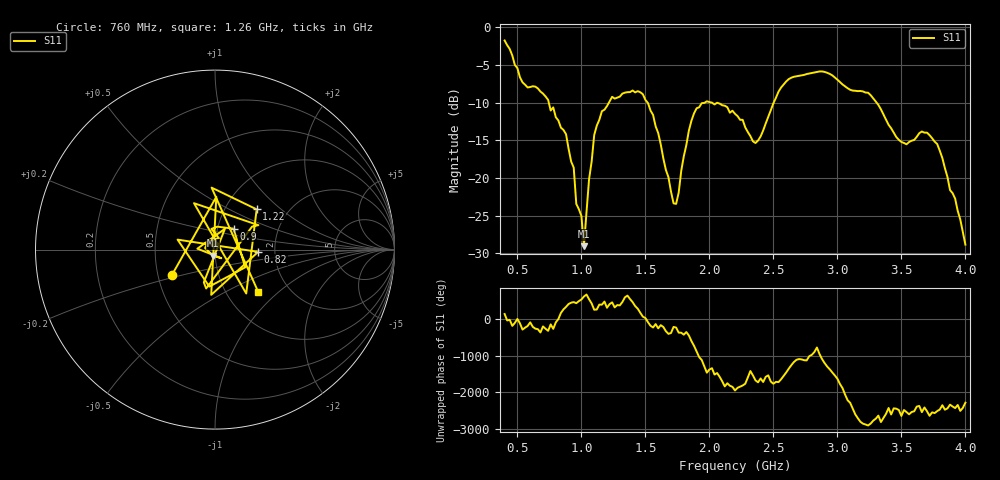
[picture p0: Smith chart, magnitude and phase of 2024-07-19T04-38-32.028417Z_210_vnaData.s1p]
!Created with skrf (http://scikit-rf.org).
# Hz S RI R 50.0
!freq ReS11 ImS11
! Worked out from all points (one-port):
!   181 points, 400 MHz to 4 GHz, reference 50 ohm
!   lowest |S11| = -29.0 dB at 1.02 GHz (marker M1), VSWR 1.07, Z = 48.9 - j3.31 ohm
!   |S11| at or under -10 dB: 745.2 MHz to 1.214 GHz (469.1 MHz wide, 47.9 % of centre); 2.02 GHz to 2.502 GHz (481.9 MHz wide, 21.3 % of centre); 3.307 GHz to end of sweep (the widest 3 of 4)
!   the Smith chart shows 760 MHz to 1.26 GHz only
!   S11 on the Smith chart (normalised r, x): 760 MHz: 0.59, -0.18; 820 MHz: 1.63, -0.04; 900 MHz: 1.19, +0.29; 1.22 GHz: 1.40, +0.70; 1.26 GHz: 1.40, -0.74
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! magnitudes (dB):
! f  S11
! 400 MHz  -1.7
! 540 MHz  -7.3
! 760 MHz  -11.0
! 820 MHz  -12.4
! 860 MHz  -13.6
! 900 MHz  -16.1
! 940 MHz  -18.6
! 960 MHz  -23.4
! 1 GHz  -25.0
! 1.02 GHz  -29.0
! 1.1 GHz  -14.3
! 1.22 GHz  -9.8
! 1.26 GHz  -9.5
! 1.3 GHz  -9.2
! 1.48 GHz  -8.9
! 1.6 GHz  -14.0
! 1.72 GHz  -23.4
! 1.76 GHz  -22.0
! 1.84 GHz  -13.7
! 1.9 GHz  -10.7
! 2.2 GHz  -11.5
! 2.36 GHz  -15.4
! 2.66 GHz  -6.6
! 3.1 GHz  -8.3
! 3.24 GHz  -8.7
! 3.56 GHz  -15.2
! 3.78 GHz  -15.5
! 4 GHz  -28.9
